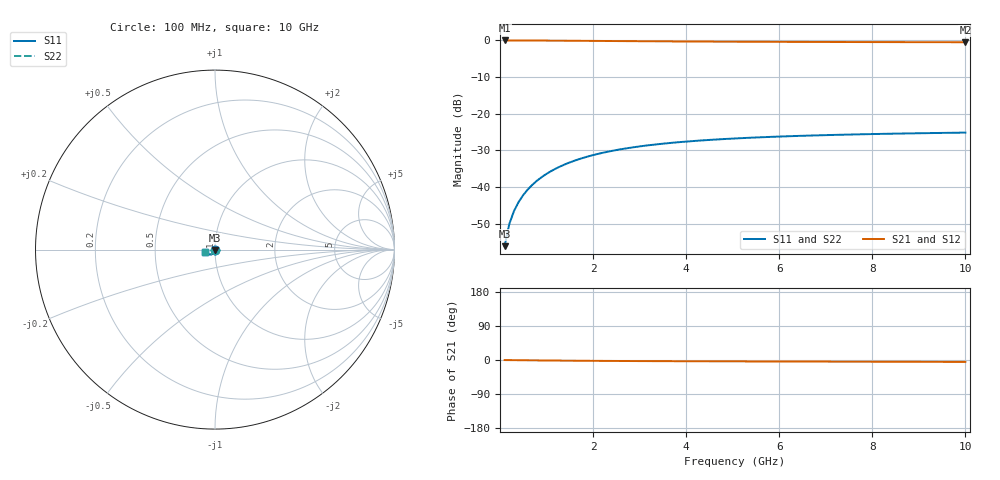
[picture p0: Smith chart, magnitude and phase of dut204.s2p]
! Touchstone file exported from HFSS 2024.1.0
!  File:  C:/UserFiles/LocalFiles/RDL_TSV_Batchsim/temp_TSV1_204_1779386267.aedt
!  Generated:  02:01:53 AM May 22, 2026
!  Design:  TSV1
!  Project:  temp_TSV1_204_1779386267
!  Setup:  Setup1
!  Solution:  Sweep
! Variables:
!  dtsv = 12.99um
!  hbump = 3um
!  htsv = 77.73um
!  lrdl = 252.1521522um
!  p = 40
!  p1 = 48.91um
!  t = 500um
!  trdl = 3um
!  wrdl = 24.89489489um
# GHz S MA R 50.000000
! Terminal data exported
! Port[1] = TSV22_T1
! Port[2] = TSV22_T2
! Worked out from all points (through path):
!   100 points, 100 MHz to 10 GHz, reference 50 ohm
!   highest |S21| = 0.00 dB at 100 MHz (marker M1); lowest = -0.5 dB at 10 GHz (marker M2)
!   lowest |S11| = -56.1 dB at 100 MHz (marker M3), VSWR 1.00, Z = 50 - j0.157 ohm
!   |S11| at or under -10 dB: start of sweep to end of sweep
!   |S22| runs from -56.1 to -25.1 dB; largest |S21 - S12| = 5.7e-15
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0.1  0.001568 -88.5  0.9999 -0.1  0.9999 -0.1  0.001568 -88.5
! Gamma 0 0 0 0
! Port Impedance 50 0 50 0
0.2  0.003133 -91.6  0.9997 -0.3  0.9997 -0.3  0.003133 -91.6
0.3  0.004697 -93.7  0.9995 -0.4  0.9995 -0.4  0.004697 -93.7
0.4  0.006254 -95.6  0.9991 -0.5  0.9991 -0.5  0.006254 -95.6
0.5  0.007797 -97.5  0.9987 -0.7  0.9987 -0.7  0.007797 -97.5
0.6  0.009323 -99.2  0.9982 -0.8  0.9982 -0.8  0.009323 -99.2
0.7  0.01083 -101.0  0.9976 -0.9  0.9976 -0.9  0.01083 -101.0
0.8  0.0123 -102.6  0.997 -1.0  0.997 -1.0  0.0123 -102.6
0.9  0.01375 -104.3  0.9963 -1.1  0.9963 -1.1  0.01375 -104.3
1.1  0.01656 -107.5  0.9947 -1.4  0.9947 -1.4  0.01656 -107.5
1.4  0.02049 -112.1  0.9921 -1.7  0.9921 -1.7  0.02049 -112.1
1.6  0.02293 -114.9  0.9902 -1.9  0.9902 -1.9  0.02293 -114.9
1.8  0.02521 -117.7  0.9882 -2.0  0.9882 -2.0  0.02521 -117.7
2.1  0.02835 -121.5  0.9851 -2.3  0.9851 -2.3  0.02835 -121.5
2.5  0.03203 -126.1  0.9811 -2.6  0.9811 -2.6  0.03203 -126.1
2.9  0.0352 -130.3  0.9773 -2.8  0.9773 -2.8  0.0352 -130.3
3.4  0.03853 -134.9  0.973 -3.0  0.973 -3.0  0.03853 -134.9
4.2  0.04274 -141.0  0.9669 -3.4  0.9669 -3.4  0.04274 -141.0
5.1  0.04627 -146.7  0.9615 -3.7  0.9615 -3.7  0.04627 -146.7
6.7  0.05057 -154.4  0.9544 -4.1  0.9544 -4.1  0.05057 -154.4
8.4  0.05351 -160.7  0.9494 -4.6  0.9494 -4.6  0.05351 -160.7
10  0.0554 -165.3  0.946 -5.1  0.946 -5.1  0.0554 -165.3
